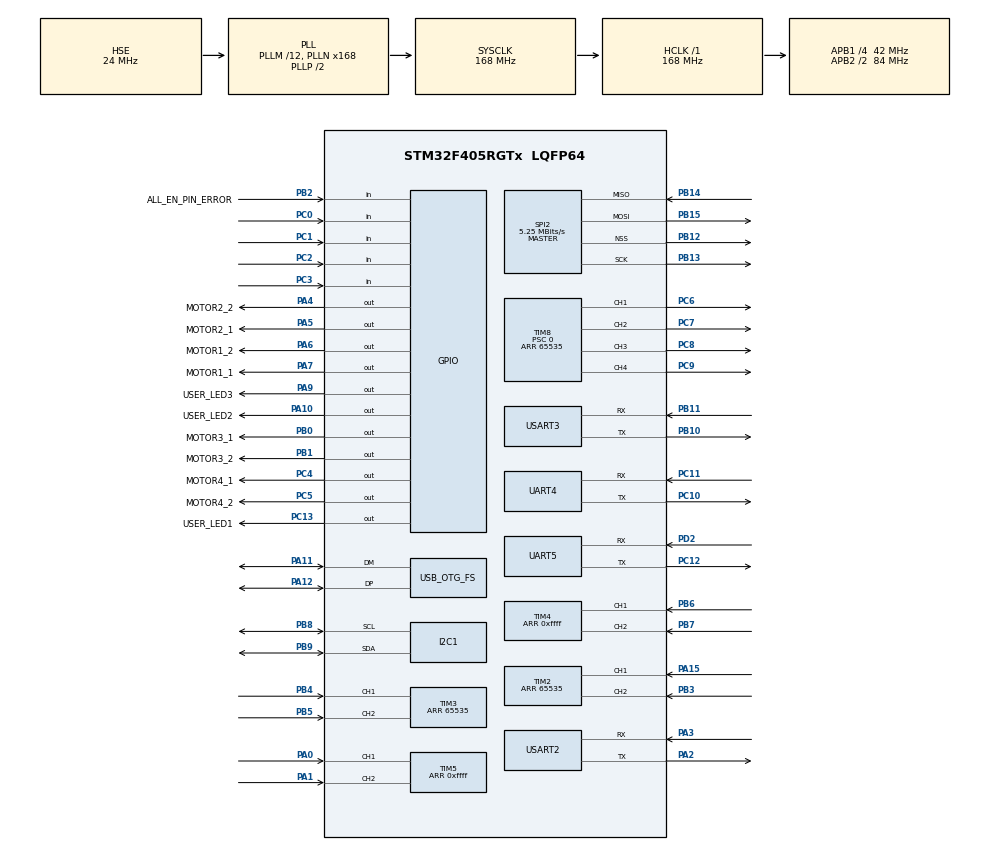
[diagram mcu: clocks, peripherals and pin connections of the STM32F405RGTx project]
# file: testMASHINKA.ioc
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Mcu.Family=STM32F4
PH0-OSC_IN.Signal=RCC_OSC_IN
SPI2.VirtualNSS=VM_NSSHARD
TIM8.ClockDivision=TIM_CLOCKDIVISION_DIV1
RCC.CortexFreq_Value=168000000
SPI2.VirtualType=VM_MASTER
PB10.Mode=Asynchronous
Dma.USART2_TX.1.MemInc=DMA_MINC_ENABLE
PC10.Signal=UART4_TX
PC12.Signal=UART5_TX
TIM4.EncoderMode=TIM_ENCODERMODE_TI12
TIM5.EncoderMode=TIM_ENCODERMODE_TI12
TIM3.EncoderMode=TIM_ENCODERMODE_TI12
SH.S_TIM5_CH2.0=TIM5_CH2,Encoder_Interface
PA11.Mode=Device_Only
PA6.GPIO_Label=MOTOR1_2
PB0.GPIO_Label=MOTOR3_1
TIM2.EncoderMode=TIM_ENCODERMODE_TI12
TIM8.Channel-PWM\ Generation4\ CH4=TIM_CHANNEL_4
PB11.Signal=USART3_RX
PB13.Signal=SPI2_SCK
PB15.Signal=SPI2_MOSI
RCC.SYSCLKSource=RCC_SYSCLKSOURCE_PLLCLK
ProjectManager.StackSize=0x400
PA12.Signal=USB_OTG_FS_DP
NVIC.TIM5_IRQn=true\:0\:0\:false\:false\:true\:true\:true
Dma.USART2_RX.0.Priority=DMA_PRIORITY_LOW
Dma.USART2_RX.0.PeriphDataAlignment=DMA_PDATAALIGN_BYTE
RCC.HCLKFreq_Value=168000000
TIM8.Channel-PWM\ Generation1\ CH1=TIM_CHANNEL_1
RCC.APB2TimFreq_Value=168000000
TIM3.Period=65535
PB6.Signal=S_TIM4_CH1
PC7.Signal=S_TIM8_CH2
Dma.USART2_TX.1.Mode=DMA_NORMAL
PC3.Signal=GPIO_Input
RCC.AHBFreq_Value=168000000
SPI2.BaudRatePrescaler=SPI_BAUDRATEPRESCALER_8
PH0-OSC_IN.Mode=HSE-External-Oscillator
RCC.HSE_VALUE=24000000
PB2.Signal=GPIO_Input
PC13-ANTI_TAMP.Signal=GPIO_Output
Dma.USART2_RX.0.MemDataAlignment=DMA_MDATAALIGN_BYTE
PC4.GPIO_Label=MOTOR4_1
PA14.Mode=Serial_Wire
Dma.USART2_TX.1.Instance=DMA1_Stream6
PB14.Mode=Full_Duplex_Master
PB1.GPIO_Label=MOTOR3_2
NVIC.TIM2_IRQn=true\:0\:0\:false\:false\:true\:true\:true
PA10.GPIO_Label=USER_LED2
Dma.USART2_RX.0.Instance=DMA1_Stream5
SPI2.CalculateBaudRate=5.25 MBits/s
SH.S_TIM4_CH2.0=TIM4_CH2,Encoder_Interface
PB7.Signal=S_TIM4_CH2
SH.S_TIM3_CH1.0=TIM3_CH1,Encoder_Interface
TIM4.Period=0xffff
TIM5.IC1Filter=6
PH1-OSC_OUT.Mode=HSE-External-Oscillator
Mcu.Package=LQFP64
PB9.Signal=I2C1_SDA
PB1.Signal=GPIO_Output
PA6.Signal=GPIO_Output
PB12.Mode=NSS_Signal_Hard_Output
TIM8.Channel-PWM\ Generation3\ CH3=TIM_CHANNEL_3
SH.S_TIM8_CH4.0=TIM8_CH4,PWM Generation4 CH4
SPI2.Mode=SPI_MODE_MASTER
Dma.USART2_RX.0.PeriphInc=DMA_PINC_DISABLE
USART2.VirtualMode=VM_ASYNC
Dma.USART2_RX.0.FIFOMode=DMA_FIFOMODE_DISABLE
PA10.Signal=GPIO_Output
TIM8.Channel-PWM\ Generation2\ CH2=TIM_CHANNEL_2
USB_OTG_FS.VirtualMode=Device_Only
PA15.Signal=S_TIM2_CH1_ETR
PC8.GPIO_Speed=GPIO_SPEED_FREQ_HIGH
PC11.Mode=Asynchronous
TIM4.IC1Filter=6
TIM8.Prescaler=0
RCC.APB2CLKDivider=RCC_HCLK_DIV2
SH.S_TIM4_CH1.0=TIM4_CH1,Encoder_Interface
Dma.Request1=USART2_TX
RCC.APB1TimFreq_Value=84000000
SH.S_TIM5_CH1.0=TIM5_CH1,Encoder_Interface
SPI2.Direction=SPI_DIRECTION_2LINES
PC5.Signal=GPIO_Output
PB13.Mode=Full_Duplex_Master
Dma.Request0=USART2_RX
NVIC.DMA1_Stream6_IRQn=true\:0\:0\:false\:false\:true\:false\:true
PA4.GPIO_Label=MOTOR2_2
PC6.GPIO_Speed=GPIO_SPEED_FREQ_HIGH
PB4.Signal=S_TIM3_CH1
PA3.Signal=USART2_RX
SH.S_TIM8_CH3.0=TIM8_CH3,PWM Generation3 CH3
Dma.USART2_TX.1.Priority=DMA_PRIORITY_LOW
TIM5.IC2Filter=6
Dma.USART2_TX.1.FIFOMode=DMA_FIFOMODE_DISABLE
PC13-ANTI_TAMP.GPIO_Label=USER_LED1
TIM2.IC1Filter=6
PC11.Signal=UART4_RX
PA9.GPIO_Label=USER_LED3
PC8.Signal=S_TIM8_CH3
PC2.Signal=GPIO_Input
PC4.Signal=GPIO_Output
PC6.Signal=S_TIM8_CH1
PC10.Mode=Asynchronous
Dma.USART2_RX.0.Direction=DMA_PERIPH_TO_MEMORY
TIM4.IC2Filter=6
UART5.VirtualMode=Asynchronous
PC0.Signal=GPIO_Input
RCC.APB1CLKDivider=RCC_HCLK_DIV4
UART4.VirtualMode=Asynchronous
Dma.USART2_TX.1.PeriphDataAlignment=DMA_PDATAALIGN_BYTE
NVIC.USART2_IRQn=true\:0\:0\:false\:false\:true\:true\:true
SH.S_TIM8_CH2.0=TIM8_CH2,PWM Generation2 CH2
PA0-WKUP.Signal=S_TIM5_CH1
Dma.USART2_RX.0.Mode=DMA_NORMAL
PA3.Mode=Asynchronous
PA13.Signal=SYS_JTMS-SWDIO
SH.S_TIM2_CH2.0=TIM2_CH2,Encoder_Interface
PB11.Mode=Asynchronous
ProjectManager.TargetToolchain=STM32CubeIDE
TIM3.IC2Filter=6
NVIC.DMA1_Stream5_IRQn=true\:0\:0\:false\:false\:true\:false\:true
PB9.Mode=I2C
PA9.Signal=GPIO_Output
VP_TIM8_VS_ClockSourceINT.Mode=Internal
RCC.LSE_VALUE=32768
PA1.Signal=S_TIM5_CH2
PB10.Signal=USART3_TX
PB14.Signal=SPI2_MISO
PD2.Mode=Asynchronous
PA5.Signal=GPIO_Output
SH.S_TIM3_CH2.0=TIM3_CH2,Encoder_Interface
TIM3.IC1Filter=6
SH.S_TIM8_CH1.0=TIM8_CH1,PWM Generation1 CH1
PC12.Mode=Asynchronous
Dma.USART2_TX.1.PeriphInc=DMA_PINC_DISABLE
board=custom
PC7.GPIO_Speed=GPIO_SPEED_FREQ_HIGH
RCC.VCOOutputFreq_Value=336000000
PB15.Mode=Full_Duplex_Master
NVIC.TIM3_IRQn=true\:0\:0\:false\:false\:true\:true\:true
Dma.USART2_TX.1.Direction=DMA_MEMORY_TO_PERIPH
RCC.APB2Freq_Value=84000000
PH1-OSC_OUT.Signal=RCC_OSC_OUT
TIM2.Period=65535
PA13.Mode=Serial_Wire
Mcu.Name=STM32F405RGTx
Dma.USART2_RX.0.MemInc=DMA_MINC_ENABLE
PA2.Signal=USART2_TX
TIM8.Period=65535
RCC.48MHZClocksFreq_Value=48000000
PB3.Signal=S_TIM2_CH2
PA4.Signal=GPIO_Output
RCC.SYSCLKFreq_VALUE=168000000
PB5.Signal=S_TIM3_CH2
PA7.GPIO_Label=MOTOR1_1
PA12.Mode=Device_Only
PA5.GPIO_Label=MOTOR2_1
PC5.GPIO_Label=MOTOR4_2
USART3.VirtualMode=VM_ASYNC
PA11.Signal=USB_OTG_FS_DM
SH.S_TIM2_CH1_ETR.0=TIM2_CH1,Encoder_Interface
PA14.Signal=SYS_JTCK-SWCLK
PB2.GPIO_Label=ALL_EN_PIN_ERROR
ProjectManager.HeapSize=0x200
RCC.HSI_VALUE=16000000
RCC.PLLQ=7
PC9.GPIO_Speed=GPIO_SPEED_FREQ_HIGH
NVIC.PriorityGroup=NVIC_PRIORITYGROUP_4
RCC.PLLM=12
PB8.Mode=I2C
RCC.PLLN=168
PA2.Mode=Asynchronous
PB8.Signal=I2C1_SCL
TIM5.Period=0xffff
PC9.Signal=S_TIM8_CH4
Dma.USART2_TX.1.MemDataAlignment=DMA_MDATAALIGN_BYTE
PD2.Signal=UART5_RX
NVIC.TIM4_IRQn=true\:0\:0\:false\:false\:true\:true\:true
RCC.APB1Freq_Value=42000000
PB0.Signal=GPIO_Output
PC1.Signal=GPIO_Input
PB12.Signal=SPI2_NSS
TIM2.IC2Filter=6
PA7.Signal=GPIO_Output

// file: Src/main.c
/* USER CODE BEGIN Header */
/**
  ******************************************************************************
  * @file           : main.c
  * @brief          : Main program body
  ******************************************************************************
  * @attention
  *
  * <h2><center>&copy; Copyright (c) 2020 STMicroelectronics.
  * All rights reserved.</center></h2>
  *
  * This software component is licensed by ST under BSD 3-Clause license,
  * the "License"; You may not use this file except in compliance with the
  * License. You may obtain a copy of the License at:
  *                        opensource.org/licenses/BSD-3-Clause
  *
  ******************************************************************************
  */
/* USER CODE END Header */

#include "main.h"

/* USER CODE BEGIN Includes */

#define USER_LED1ON     HAL_GPIO_WritePin(USER_LED1_GPIO_Port, USER_LED1_Pin, GPIO_PIN_RESET);     //ON LED
#define USER_LED1OFF    HAL_GPIO_WritePin(USER_LED1_GPIO_Port, USER_LED1_Pin, GPIO_PIN_SET);   //OFF LED
#define USER_LED2ON     HAL_GPIO_WritePin(USER_LED2_GPIO_Port, USER_LED2_Pin, GPIO_PIN_RESET);     //ON LED
#define USER_LED2OFF    HAL_GPIO_WritePin(USER_LED2_GPIO_Port, USER_LED2_Pin, GPIO_PIN_SET);   //OFF LED
#define USER_LED3ON     HAL_GPIO_WritePin(USER_LED3_GPIO_Port, USER_LED3_Pin, GPIO_PIN_RESET);     //ON LED
#define USER_LED3OFF    HAL_GPIO_WritePin(USER_LED3_GPIO_Port, USER_LED3_Pin, GPIO_PIN_SET);   //OFF LED
/*
#define PWMmotor1_ON     HAL_GPIO_WritePin(PWMmotor1_GPIO_Port, PWMmotor1_Pin, GPIO_PIN_SET);     //ON PWM
#define PWMmotor1_OFF    HAL_GPIO_WritePin(PWMmotor1_GPIO_Port, PWMmotor1_Pin, GPIO_PIN_RESET);   //OFF PWM
#define PWMmotor2_ON     HAL_GPIO_WritePin(PWMmotor2_GPIO_Port, PWMmotor2_Pin, GPIO_PIN_SET);     //ON PWM
#define PWMmotor2_OFF    HAL_GPIO_WritePin(PWMmotor2_GPIO_Port, PWMmotor2_Pin, GPIO_PIN_RESET);   //OFF PWM
#define PWMmotor3_ON     HAL_GPIO_WritePin(PWMmotor3_GPIO_Port, PWMmotor3_Pin, GPIO_PIN_SET);     //ON PWM
#define PWMmotor3_OFF    HAL_GPIO_WritePin(PWMmotor3_GPIO_Port, PWMmotor3_Pin, GPIO_PIN_RESET);   //OFF PWM
#define PWMmotor4_ON     HAL_GPIO_WritePin(PWMmotor4_GPIO_Port, PWMmotor4_Pin, GPIO_PIN_SET);     //ON PWM
#define PWMmotor4_OFF    HAL_GPIO_WritePin(PWMmotor4_GPIO_Port, PWMmotor4_Pin, GPIO_PIN_RESET);   //OFF PWM
*/
#define MOTOR1_1_ON     HAL_GPIO_WritePin(MOTOR1_1_GPIO_Port, MOTOR1_1_Pin, GPIO_PIN_SET);     //ON IN DRIVER
#define MOTOR1_2_ON     HAL_GPIO_WritePin(MOTOR1_2_GPIO_Port, MOTOR1_2_Pin, GPIO_PIN_SET);     //ON IN DRIVER
#define MOTOR2_1_ON     HAL_GPIO_WritePin(MOTOR2_1_GPIO_Port, MOTOR2_1_Pin, GPIO_PIN_SET);     //ON IN DRIVER
#define MOTOR2_2_ON     HAL_GPIO_WritePin(MOTOR2_2_GPIO_Port, MOTOR2_2_Pin, GPIO_PIN_SET);     //ON IN DRIVER
#define MOTOR3_1_ON     HAL_GPIO_WritePin(MOTOR3_1_GPIO_Port, MOTOR3_1_Pin, GPIO_PIN_SET);     //ON IN DRIVER
#define MOTOR3_2_ON     HAL_GPIO_WritePin(MOTOR3_2_GPIO_Port, MOTOR3_2_Pin, GPIO_PIN_SET);     //ON IN DRIVER
#define MOTOR4_1_ON     HAL_GPIO_WritePin(MOTOR4_1_GPIO_Port, MOTOR4_1_Pin, GPIO_PIN_SET);     //ON IN DRIVER
#define MOTOR4_2_ON     HAL_GPIO_WritePin(MOTOR4_2_GPIO_Port, MOTOR4_2_Pin, GPIO_PIN_SET);     //ON IN DRIVER
#define MOTOR1_1_OFF     HAL_GPIO_WritePin(MOTOR1_1_GPIO_Port, MOTOR1_1_Pin, GPIO_PIN_RESET);     //OFF IN DRIVER
#define MOTOR1_2_OFF     HAL_GPIO_WritePin(MOTOR1_2_GPIO_Port, MOTOR1_2_Pin, GPIO_PIN_RESET);     //OFF IN DRIVER
#define MOTOR2_1_OFF     HAL_GPIO_WritePin(MOTOR2_1_GPIO_Port, MOTOR2_1_Pin, GPIO_PIN_RESET);     //OFF IN DRIVER
#define MOTOR2_2_OFF     HAL_GPIO_WritePin(MOTOR2_2_GPIO_Port, MOTOR2_2_Pin, GPIO_PIN_RESET);     //OFF IN DRIVER
#define MOTOR3_1_OFF     HAL_GPIO_WritePin(MOTOR3_1_GPIO_Port, MOTOR3_1_Pin, GPIO_PIN_RESET);     //OFF IN DRIVER
#define MOTOR3_2_OFF     HAL_GPIO_WritePin(MOTOR3_2_GPIO_Port, MOTOR3_2_Pin, GPIO_PIN_RESET);     //OFF IN DRIVER
#define MOTOR4_1_OFF     HAL_GPIO_WritePin(MOTOR4_1_GPIO_Port, MOTOR4_1_Pin, GPIO_PIN_RESET);     //OFF IN DRIVER
#define MOTOR4_2_OFF     HAL_GPIO_WritePin(MOTOR4_2_GPIO_Port, MOTOR4_2_Pin, GPIO_PIN_RESET);     //OFF IN DRIVER

/* USER CODE END Includes */

I2C_HandleTypeDef hi2c1;

SPI_HandleTypeDef hspi2;

TIM_HandleTypeDef htim2;
TIM_HandleTypeDef htim3;
TIM_HandleTypeDef htim4;
TIM_HandleTypeDef htim5;
TIM_HandleTypeDef htim8;

UART_HandleTypeDef huart4;
UART_HandleTypeDef huart5;
UART_HandleTypeDef huart2;
UART_HandleTypeDef huart3;
DMA_HandleTypeDef hdma_usart2_rx;
DMA_HandleTypeDef hdma_usart2_tx;

PCD_HandleTypeDef hpcd_USB_OTG_FS;

/* USER CODE BEGIN PV */
uint32_t i, b, e, t;
/* USER CODE END PV */

void SystemClock_Config(void);
static void MX_GPIO_Init(void);
static void MX_DMA_Init(void);
static void MX_I2C1_Init(void);
static void MX_SPI2_Init(void);
static void MX_TIM8_Init(void);
static void MX_UART4_Init(void);
static void MX_UART5_Init(void);
static void MX_USART2_UART_Init(void);
static void MX_USART3_UART_Init(void);
static void MX_USB_OTG_FS_PCD_Init(void);
static void MX_TIM2_Init(void);
static void MX_TIM3_Init(void);
static void MX_TIM4_Init(void);
static void MX_TIM5_Init(void);
/* USER CODE BEGIN PFP */
extern void setup();
extern void loop();
/* USER CODE END PFP */

int main(void)
{

  /* MCU Configuration--------------------------------------------------------*/

  /* Reset of all peripherals, Initializes the Flash interface and the Systick. */
  HAL_Init();

  /* Configure the system clock */
  SystemClock_Config();

  /* Initialize all configured peripherals */
  MX_GPIO_Init();
  MX_DMA_Init();
  MX_I2C1_Init();
  MX_SPI2_Init();
  MX_TIM8_Init();
  MX_UART4_Init();
  MX_UART5_Init();
  MX_USART2_UART_Init();
  MX_USART3_UART_Init();
  MX_USB_OTG_FS_PCD_Init();
  MX_TIM2_Init();
  MX_TIM3_Init();
  MX_TIM4_Init();
  MX_TIM5_Init();
  /* USER CODE BEGIN 2 */

  setup();
  /* USER CODE END 2 */

  /* Infinite loop */
  /* USER CODE BEGIN WHILE */
  //**???????????? ??????????????????
  while (1)
  {
	  loop();

    /* USER CODE END WHILE */

  }
}

void SystemClock_Config(void)
{
  RCC_OscInitTypeDef RCC_OscInitStruct = {0};
  RCC_ClkInitTypeDef RCC_ClkInitStruct = {0};

  /** Configure the main internal regulator output voltage
  */
  __HAL_RCC_PWR_CLK_ENABLE();
  __HAL_PWR_VOLTAGESCALING_CONFIG(PWR_REGULATOR_VOLTAGE_SCALE1);
  /** Initializes the CPU, AHB and APB busses clocks
  */
  RCC_OscInitStruct.OscillatorType = RCC_OSCILLATORTYPE_HSE;
  RCC_OscInitStruct.HSEState = RCC_HSE_ON;
  RCC_OscInitStruct.PLL.PLLState = RCC_PLL_ON;
  RCC_OscInitStruct.PLL.PLLSource = RCC_PLLSOURCE_HSE;
  RCC_OscInitStruct.PLL.PLLM = 12;
  RCC_OscInitStruct.PLL.PLLN = 168;
  RCC_OscInitStruct.PLL.PLLP = RCC_PLLP_DIV2;
  RCC_OscInitStruct.PLL.PLLQ = 7;
  if (HAL_RCC_OscConfig(&RCC_OscInitStruct) != HAL_OK)
  {
    Error_Handler();
  }
  /** Initializes the CPU, AHB and APB busses clocks
  */
  RCC_ClkInitStruct.ClockType = RCC_CLOCKTYPE_HCLK|RCC_CLOCKTYPE_SYSCLK
                              |RCC_CLOCKTYPE_PCLK1|RCC_CLOCKTYPE_PCLK2;
  RCC_ClkInitStruct.SYSCLKSource = RCC_SYSCLKSOURCE_PLLCLK;
  RCC_ClkInitStruct.AHBCLKDivider = RCC_SYSCLK_DIV1;
  RCC_ClkInitStruct.APB1CLKDivider = RCC_HCLK_DIV4;
  RCC_ClkInitStruct.APB2CLKDivider = RCC_HCLK_DIV2;

  if (HAL_RCC_ClockConfig(&RCC_ClkInitStruct, FLASH_LATENCY_5) != HAL_OK)
  {
    Error_Handler();
  }
}

static void MX_I2C1_Init(void)
{

  hi2c1.Instance = I2C1;
  hi2c1.Init.ClockSpeed = 100000;
  hi2c1.Init.DutyCycle = I2C_DUTYCYCLE_2;
  hi2c1.Init.OwnAddress1 = 0;
  hi2c1.Init.AddressingMode = I2C_ADDRESSINGMODE_7BIT;
  hi2c1.Init.DualAddressMode = I2C_DUALADDRESS_DISABLE;
  hi2c1.Init.OwnAddress2 = 0;
  hi2c1.Init.GeneralCallMode = I2C_GENERALCALL_DISABLE;
  hi2c1.Init.NoStretchMode = I2C_NOSTRETCH_DISABLE;
  if (HAL_I2C_Init(&hi2c1) != HAL_OK)
  {
    Error_Handler();
  }

}

static void MX_SPI2_Init(void)
{

  /* SPI2 parameter configuration*/
  hspi2.Instance = SPI2;
  hspi2.Init.Mode = SPI_MODE_MASTER;
  hspi2.Init.Direction = SPI_DIRECTION_2LINES;
  hspi2.Init.DataSize = SPI_DATASIZE_8BIT;
  hspi2.Init.CLKPolarity = SPI_POLARITY_LOW;
  hspi2.Init.CLKPhase = SPI_PHASE_1EDGE;
  hspi2.Init.NSS = SPI_NSS_HARD_OUTPUT;
  hspi2.Init.BaudRatePrescaler = SPI_BAUDRATEPRESCALER_8;
  hspi2.Init.FirstBit = SPI_FIRSTBIT_MSB;
  hspi2.Init.TIMode = SPI_TIMODE_DISABLE;
  hspi2.Init.CRCCalculation = SPI_CRCCALCULATION_DISABLE;
  hspi2.Init.CRCPolynomial = 10;
  if (HAL_SPI_Init(&hspi2) != HAL_OK)
  {
    Error_Handler();
  }

}

static void MX_TIM2_Init(void)
{

  TIM_Encoder_InitTypeDef sConfig = {0};
  TIM_MasterConfigTypeDef sMasterConfig = {0};

  htim2.Instance = TIM2;
  htim2.Init.Prescaler = 0;
  htim2.Init.CounterMode = TIM_COUNTERMODE_UP;
  htim2.Init.Period = 65535;
  htim2.Init.ClockDivision = TIM_CLOCKDIVISION_DIV1;
  htim2.Init.AutoReloadPreload = TIM_AUTORELOAD_PRELOAD_DISABLE;
  sConfig.EncoderMode = TIM_ENCODERMODE_TI12;
  sConfig.IC1Polarity = TIM_ICPOLARITY_RISING;
  sConfig.IC1Selection = TIM_ICSELECTION_DIRECTTI;
  sConfig.IC1Prescaler = TIM_ICPSC_DIV1;
  sConfig.IC1Filter = 6;
  sConfig.IC2Polarity = TIM_ICPOLARITY_RISING;
  sConfig.IC2Selection = TIM_ICSELECTION_DIRECTTI;
  sConfig.IC2Prescaler = TIM_ICPSC_DIV1;
  sConfig.IC2Filter = 6;
  if (HAL_TIM_Encoder_Init(&htim2, &sConfig) != HAL_OK)
  {
    Error_Handler();
  }
  sMasterConfig.MasterOutputTrigger = TIM_TRGO_RESET;
  sMasterConfig.MasterSlaveMode = TIM_MASTERSLAVEMODE_DISABLE;
  if (HAL_TIMEx_MasterConfigSynchronization(&htim2, &sMasterConfig) != HAL_OK)
  {
    Error_Handler();
  }

}

static void MX_TIM3_Init(void)
{

  TIM_Encoder_InitTypeDef sConfig = {0};
  TIM_MasterConfigTypeDef sMasterConfig = {0};

  htim3.Instance = TIM3;
  htim3.Init.Prescaler = 0;
  htim3.Init.CounterMode = TIM_COUNTERMODE_UP;
  htim3.Init.Period = 65535;
  htim3.Init.ClockDivision = TIM_CLOCKDIVISION_DIV1;
  htim3.Init.AutoReloadPreload = TIM_AUTORELOAD_PRELOAD_DISABLE;
  sConfig.EncoderMode = TIM_ENCODERMODE_TI12;
  sConfig.IC1Polarity = TIM_ICPOLARITY_RISING;
  sConfig.IC1Selection = TIM_ICSELECTION_DIRECTTI;
  sConfig.IC1Prescaler = TIM_ICPSC_DIV1;
  sConfig.IC1Filter = 6;
  sConfig.IC2Polarity = TIM_ICPOLARITY_RISING;
  sConfig.IC2Selection = TIM_ICSELECTION_DIRECTTI;
  sConfig.IC2Prescaler = TIM_ICPSC_DIV1;
  sConfig.IC2Filter = 6;
  if (HAL_TIM_Encoder_Init(&htim3, &sConfig) != HAL_OK)
  {
    Error_Handler();
  }
  sMasterConfig.MasterOutputTrigger = TIM_TRGO_RESET;
  sMasterConfig.MasterSlaveMode = TIM_MASTERSLAVEMODE_DISABLE;
  if (HAL_TIMEx_MasterConfigSynchronization(&htim3, &sMasterConfig) != HAL_OK)
  {
    Error_Handler();
  }

}

static void MX_TIM4_Init(void)
{

  TIM_Encoder_InitTypeDef sConfig = {0};
  TIM_MasterConfigTypeDef sMasterConfig = {0};

  htim4.Instance = TIM4;
  htim4.Init.Prescaler = 0;
  htim4.Init.CounterMode = TIM_COUNTERMODE_UP;
  htim4.Init.Period = 0xffff;
  htim4.Init.ClockDivision = TIM_CLOCKDIVISION_DIV1;
  htim4.Init.AutoReloadPreload = TIM_AUTORELOAD_PRELOAD_DISABLE;
  sConfig.EncoderMode = TIM_ENCODERMODE_TI12;
  sConfig.IC1Polarity = TIM_ICPOLARITY_RISING;
  sConfig.IC1Selection = TIM_ICSELECTION_DIRECTTI;
  sConfig.IC1Prescaler = TIM_ICPSC_DIV1;
  sConfig.IC1Filter = 6;
  sConfig.IC2Polarity = TIM_ICPOLARITY_RISING;
  sConfig.IC2Selection = TIM_ICSELECTION_DIRECTTI;
  sConfig.IC2Prescaler = TIM_ICPSC_DIV1;
  sConfig.IC2Filter = 6;
  if (HAL_TIM_Encoder_Init(&htim4, &sConfig) != HAL_OK)
  {
    Error_Handler();
  }
  sMasterConfig.MasterOutputTrigger = TIM_TRGO_RESET;
  sMasterConfig.MasterSlaveMode = TIM_MASTERSLAVEMODE_DISABLE;
  if (HAL_TIMEx_MasterConfigSynchronization(&htim4, &sMasterConfig) != HAL_OK)
  {
    Error_Handler();
  }

}

static void MX_TIM5_Init(void)
{

  TIM_Encoder_InitTypeDef sConfig = {0};
  TIM_MasterConfigTypeDef sMasterConfig = {0};

  htim5.Instance = TIM5;
  htim5.Init.Prescaler = 0;
  htim5.Init.CounterMode = TIM_COUNTERMODE_UP;
  htim5.Init.Period = 0xffff;
  htim5.Init.ClockDivision = TIM_CLOCKDIVISION_DIV1;
  htim5.Init.AutoReloadPreload = TIM_AUTORELOAD_PRELOAD_DISABLE;
  sConfig.EncoderMode = TIM_ENCODERMODE_TI12;
  sConfig.IC1Polarity = TIM_ICPOLARITY_RISING;
  sConfig.IC1Selection = TIM_ICSELECTION_DIRECTTI;
  sConfig.IC1Prescaler = TIM_ICPSC_DIV1;
  sConfig.IC1Filter = 6;
  sConfig.IC2Polarity = TIM_ICPOLARITY_RISING;
  sConfig.IC2Selection = TIM_ICSELECTION_DIRECTTI;
  sConfig.IC2Prescaler = TIM_ICPSC_DIV1;
  sConfig.IC2Filter = 6;
  if (HAL_TIM_Encoder_Init(&htim5, &sConfig) != HAL_OK)
  {
    Error_Handler();
  }
  sMasterConfig.MasterOutputTrigger = TIM_TRGO_RESET;
  sMasterConfig.MasterSlaveMode = TIM_MASTERSLAVEMODE_DISABLE;
  if (HAL_TIMEx_MasterConfigSynchronization(&htim5, &sMasterConfig) != HAL_OK)
  {
    Error_Handler();
  }

}

static void MX_TIM8_Init(void)
{

  TIM_ClockConfigTypeDef sClockSourceConfig = {0};
  TIM_MasterConfigTypeDef sMasterConfig = {0};
  TIM_OC_InitTypeDef sConfigOC = {0};
  TIM_BreakDeadTimeConfigTypeDef sBreakDeadTimeConfig = {0};

  htim8.Instance = TIM8;
  htim8.Init.Prescaler = 0;
  htim8.Init.CounterMode = TIM_COUNTERMODE_UP;
  htim8.Init.Period = 65535;
  htim8.Init.ClockDivision = TIM_CLOCKDIVISION_DIV1;
  htim8.Init.RepetitionCounter = 0;
  htim8.Init.AutoReloadPreload = TIM_AUTORELOAD_PRELOAD_DISABLE;
  if (HAL_TIM_Base_Init(&htim8) != HAL_OK)
  {
    Error_Handler();
  }
  sClockSourceConfig.ClockSource = TIM_CLOCKSOURCE_INTERNAL;
  if (HAL_TIM_ConfigClockSource(&htim8, &sClockSourceConfig) != HAL_OK)
  {
    Error_Handler();
  }
  if (HAL_TIM_PWM_Init(&htim8) != HAL_OK)
  {
    Error_Handler();
  }
  sMasterConfig.MasterOutputTrigger = TIM_TRGO_RESET;
  sMasterConfig.MasterSlaveMode = TIM_MASTERSLAVEMODE_DISABLE;
  if (HAL_TIMEx_MasterConfigSynchronization(&htim8, &sMasterConfig) != HAL_OK)
  {
    Error_Handler();
  }
  sConfigOC.OCMode = TIM_OCMODE_PWM1;
  sConfigOC.Pulse = 0;
  sConfigOC.OCPolarity = TIM_OCPOLARITY_HIGH;
  sConfigOC.OCNPolarity = TIM_OCNPOLARITY_HIGH;
  sConfigOC.OCFastMode = TIM_OCFAST_DISABLE;
  sConfigOC.OCIdleState = TIM_OCIDLESTATE_RESET;
  sConfigOC.OCNIdleState = TIM_OCNIDLESTATE_RESET;
  if (HAL_TIM_PWM_ConfigChannel(&htim8, &sConfigOC, TIM_CHANNEL_1) != HAL_OK)
  {
    Error_Handler();
  }
  if (HAL_TIM_PWM_ConfigChannel(&htim8, &sConfigOC, TIM_CHANNEL_2) != HAL_OK)
  {
    Error_Handler();
  }
  if (HAL_TIM_PWM_ConfigChannel(&htim8, &sConfigOC, TIM_CHANNEL_3) != HAL_OK)
  {
    Error_Handler();
  }
  if (HAL_TIM_PWM_ConfigChannel(&htim8, &sConfigOC, TIM_CHANNEL_4) != HAL_OK)
  {
    Error_Handler();
  }
  sBreakDeadTimeConfig.OffStateRunMode = TIM_OSSR_DISABLE;
  sBreakDeadTimeConfig.OffStateIDLEMode = TIM_OSSI_DISABLE;
  sBreakDeadTimeConfig.LockLevel = TIM_LOCKLEVEL_OFF;
  sBreakDeadTimeConfig.DeadTime = 0;
  sBreakDeadTimeConfig.BreakState = TIM_BREAK_DISABLE;
  sBreakDeadTimeConfig.BreakPolarity = TIM_BREAKPOLARITY_HIGH;
  sBreakDeadTimeConfig.AutomaticOutput = TIM_AUTOMATICOUTPUT_DISABLE;
  if (HAL_TIMEx_ConfigBreakDeadTime(&htim8, &sBreakDeadTimeConfig) != HAL_OK)
  {
    Error_Handler();
  }
  HAL_TIM_MspPostInit(&htim8);

}

static void MX_UART4_Init(void)
{

  huart4.Instance = UART4;
  huart4.Init.BaudRate = 115200;
  huart4.Init.WordLength = UART_WORDLENGTH_8B;
  huart4.Init.StopBits = UART_STOPBITS_1;
  huart4.Init.Parity = UART_PARITY_NONE;
  huart4.Init.Mode = UART_MODE_TX_RX;
  huart4.Init.HwFlowCtl = UART_HWCONTROL_NONE;
  huart4.Init.OverSampling = UART_OVERSAMPLING_16;
  if (HAL_UART_Init(&huart4) != HAL_OK)
  {
    Error_Handler();
  }

}

static void MX_UART5_Init(void)
{

  huart5.Instance = UART5;
  huart5.Init.BaudRate = 115200;
  huart5.Init.WordLength = UART_WORDLENGTH_8B;
  huart5.Init.StopBits = UART_STOPBITS_1;
  huart5.Init.Parity = UART_PARITY_NONE;
  huart5.Init.Mode = UART_MODE_TX_RX;
  huart5.Init.HwFlowCtl = UART_HWCONTROL_NONE;
  huart5.Init.OverSampling = UART_OVERSAMPLING_16;
  if (HAL_UART_Init(&huart5) != HAL_OK)
  {
    Error_Handler();
  }

}

static void MX_USART2_UART_Init(void)
{

  huart2.Instance = USART2;
  huart2.Init.BaudRate = 115200;
  huart2.Init.WordLength = UART_WORDLENGTH_8B;
  huart2.Init.StopBits = UART_STOPBITS_1;
  huart2.Init.Parity = UART_PARITY_NONE;
  huart2.Init.Mode = UART_MODE_TX_RX;
  huart2.Init.HwFlowCtl = UART_HWCONTROL_NONE;
  huart2.Init.OverSampling = UART_OVERSAMPLING_16;
  if (HAL_UART_Init(&huart2) != HAL_OK)
  {
    Error_Handler();
  }

}

static void MX_USART3_UART_Init(void)
{

  huart3.Instance = USART3;
  huart3.Init.BaudRate = 115200;
  huart3.Init.WordLength = UART_WORDLENGTH_8B;
  huart3.Init.StopBits = UART_STOPBITS_1;
  huart3.Init.Parity = UART_PARITY_NONE;
  huart3.Init.Mode = UART_MODE_TX_RX;
  huart3.Init.HwFlowCtl = UART_HWCONTROL_NONE;
  huart3.Init.OverSampling = UART_OVERSAMPLING_16;
  if (HAL_UART_Init(&huart3) != HAL_OK)
  {
    Error_Handler();
  }

}

static void MX_USB_OTG_FS_PCD_Init(void)
{

  hpcd_USB_OTG_FS.Instance = USB_OTG_FS;
  hpcd_USB_OTG_FS.Init.dev_endpoints = 4;
  hpcd_USB_OTG_FS.Init.speed = PCD_SPEED_FULL;
  hpcd_USB_OTG_FS.Init.dma_enable = DISABLE;
  hpcd_USB_OTG_FS.Init.phy_itface = PCD_PHY_EMBEDDED;
  hpcd_USB_OTG_FS.Init.Sof_enable = DISABLE;
  hpcd_USB_OTG_FS.Init.low_power_enable = DISABLE;
  hpcd_USB_OTG_FS.Init.lpm_enable = DISABLE;
  hpcd_USB_OTG_FS.Init.vbus_sensing_enable = DISABLE;
  hpcd_USB_OTG_FS.Init.use_dedicated_ep1 = DISABLE;
  if (HAL_PCD_Init(&hpcd_USB_OTG_FS) != HAL_OK)
  {
    Error_Handler();
  }

}

static void MX_DMA_Init(void)
{

  /* DMA controller clock enable */
  __HAL_RCC_DMA1_CLK_ENABLE();

  /* DMA interrupt init */
  /* DMA1_Stream5_IRQn interrupt configuration */
  HAL_NVIC_SetPriority(DMA1_Stream5_IRQn, 0, 0);
  HAL_NVIC_EnableIRQ(DMA1_Stream5_IRQn);
  /* DMA1_Stream6_IRQn interrupt configuration */
  HAL_NVIC_SetPriority(DMA1_Stream6_IRQn, 0, 0);
  HAL_NVIC_EnableIRQ(DMA1_Stream6_IRQn);

}

static void MX_GPIO_Init(void)
{
  GPIO_InitTypeDef GPIO_InitStruct = {0};

  /* GPIO Ports Clock Enable */
  __HAL_RCC_GPIOC_CLK_ENABLE();
  __HAL_RCC_GPIOH_CLK_ENABLE();
  __HAL_RCC_GPIOA_CLK_ENABLE();
  __HAL_RCC_GPIOB_CLK_ENABLE();
  __HAL_RCC_GPIOD_CLK_ENABLE();

  /*Configure GPIO pin Output Level */
  HAL_GPIO_WritePin(GPIOC, USER_LED1_Pin|MOTOR4_1_Pin|MOTOR4_2_Pin, GPIO_PIN_RESET);

  /*Configure GPIO pin Output Level */
  HAL_GPIO_WritePin(GPIOA, MOTOR2_2_Pin|MOTOR2_1_Pin|MOTOR1_2_Pin|MOTOR1_1_Pin
                          |USER_LED3_Pin|USER_LED2_Pin, GPIO_PIN_RESET);

  /*Configure GPIO pin Output Level */
  HAL_GPIO_WritePin(GPIOB, MOTOR3_1_Pin|MOTOR3_2_Pin, GPIO_PIN_RESET);

  /*Configure GPIO pins : USER_LED1_Pin MOTOR4_1_Pin MOTOR4_2_Pin */
  GPIO_InitStruct.Pin = USER_LED1_Pin|MOTOR4_1_Pin|MOTOR4_2_Pin;
  GPIO_InitStruct.Mode = GPIO_MODE_OUTPUT_PP;
  GPIO_InitStruct.Pull = GPIO_NOPULL;
  GPIO_InitStruct.Speed = GPIO_SPEED_FREQ_LOW;
  HAL_GPIO_Init(GPIOC, &GPIO_InitStruct);

  /*Configure GPIO pins : PC0 PC1 PC2 PC3 */
  GPIO_InitStruct.Pin = GPIO_PIN_0|GPIO_PIN_1|GPIO_PIN_2|GPIO_PIN_3;
  GPIO_InitStruct.Mode = GPIO_MODE_INPUT;
  GPIO_InitStruct.Pull = GPIO_NOPULL;
  HAL_GPIO_Init(GPIOC, &GPIO_InitStruct);

  /*Configure GPIO pins : MOTOR2_2_Pin MOTOR2_1_Pin MOTOR1_2_Pin MOTOR1_1_Pin
                           USER_LED3_Pin USER_LED2_Pin */
  GPIO_InitStruct.Pin = MOTOR2_2_Pin|MOTOR2_1_Pin|MOTOR1_2_Pin|MOTOR1_1_Pin
                          |USER_LED3_Pin|USER_LED2_Pin;
  GPIO_InitStruct.Mode = GPIO_MODE_OUTPUT_PP;
  GPIO_InitStruct.Pull = GPIO_NOPULL;
  GPIO_InitStruct.Speed = GPIO_SPEED_FREQ_LOW;
  HAL_GPIO_Init(GPIOA, &GPIO_InitStruct);

  /*Configure GPIO pins : MOTOR3_1_Pin MOTOR3_2_Pin */
  GPIO_InitStruct.Pin = MOTOR3_1_Pin|MOTOR3_2_Pin;
  GPIO_InitStruct.Mode = GPIO_MODE_OUTPUT_PP;
  GPIO_InitStruct.Pull = GPIO_NOPULL;
  GPIO_InitStruct.Speed = GPIO_SPEED_FREQ_LOW;
  HAL_GPIO_Init(GPIOB, &GPIO_InitStruct);

  /*Configure GPIO pin : ALL_EN_PIN_ERROR_Pin */
  GPIO_InitStruct.Pin = ALL_EN_PIN_ERROR_Pin;
  GPIO_InitStruct.Mode = GPIO_MODE_INPUT;
  GPIO_InitStruct.Pull = GPIO_NOPULL;
  HAL_GPIO_Init(ALL_EN_PIN_ERROR_GPIO_Port, &GPIO_InitStruct);

}

void Error_Handler(void)
{
}

/************************ (C) COPYRIGHT STMicroelectronics *****END OF FILE****/
